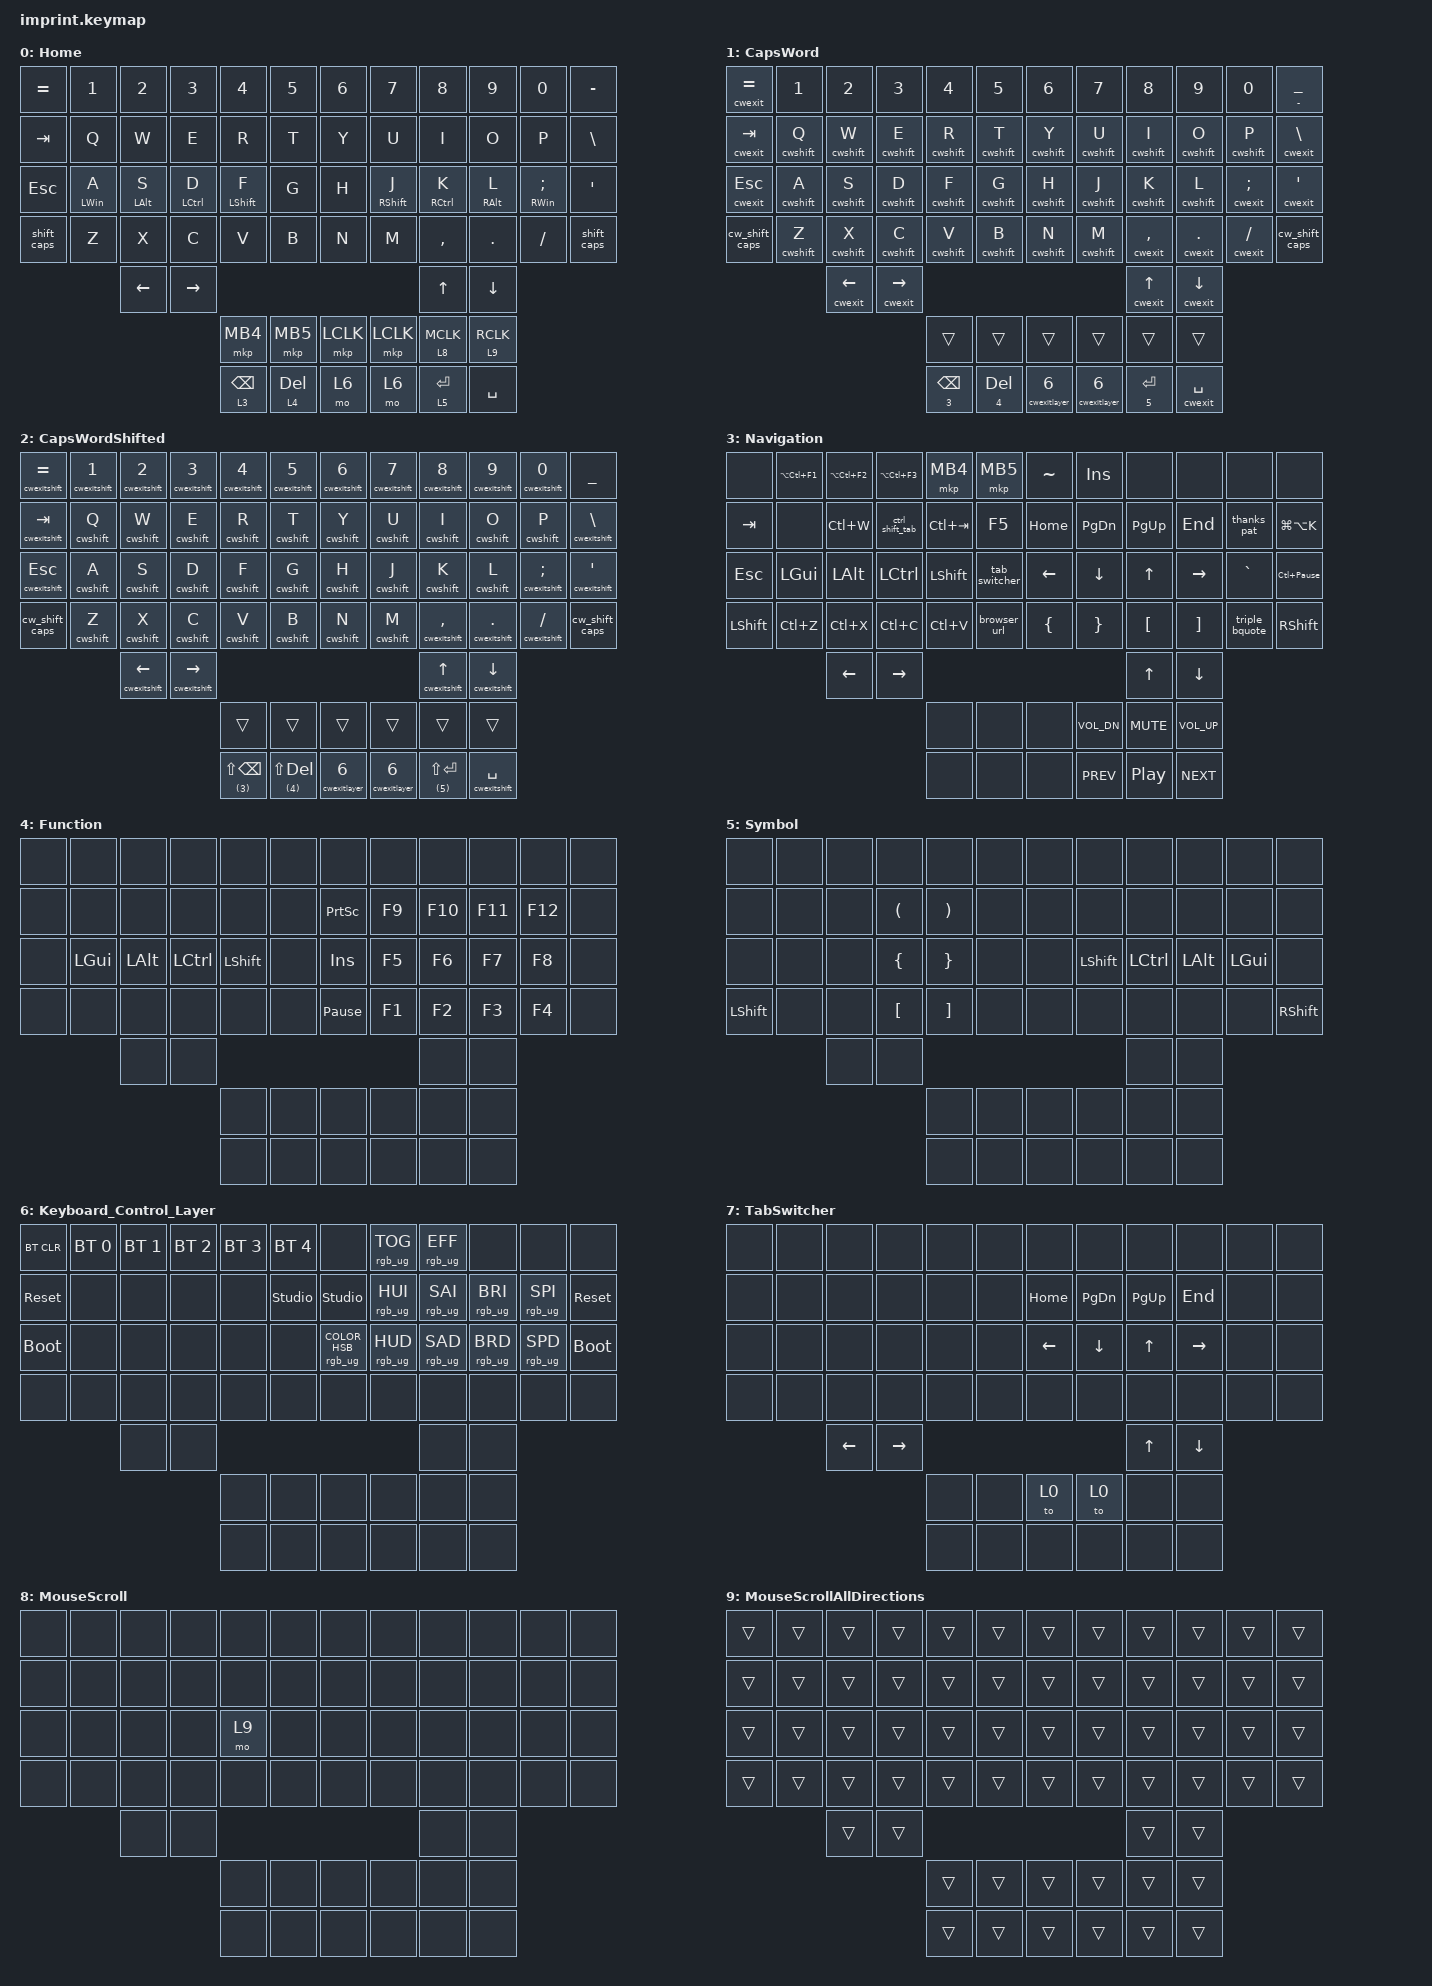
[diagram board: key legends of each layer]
#include <input/processors.dtsi>
#include <dt-bindings/zmk/input_transform.h>
#include <behaviors.dtsi>
#include <dt-bindings/zmk/bt.h>
#include <dt-bindings/zmk/keys.h>
#include <dt-bindings/zmk/pointing.h>
#include <dt-bindings/zmk/rgb.h>

/ {
    chosen { zmk,physical-layout = &physical_layout_imprint_number_row; };

    behaviors {
        hrm_left: hrm_left {
            compatible = "zmk,behavior-hold-tap";
            label = "HRM_LEFT";
            #binding-cells = <2>;
            tapping-term-ms = <500>;
            quick-tap-ms = <300>;
            require-prior-idle-ms = <250>;
            flavor = "balanced";
            hold-trigger-on-release;
            bindings = <&kp>, <&kp>;

            hold-trigger-key-positions = <6 7 8 9 10 11 18 19 20 21 22 23 30 31 32 33 34 35 42 43 44 45 46 47 50 51 55 56 57 61 62 63>;
        };

        hrm_left_index: hrm_left_index {
            compatible = "zmk,behavior-hold-tap";
            label = "HRM_LEFT_INDEX";
            #binding-cells = <2>;
            tapping-term-ms = <500>;
            quick-tap-ms = <300>;
            require-prior-idle-ms = <150>;
            flavor = "balanced";
            hold-trigger-on-release;
            bindings = <&kp>, <&kp>;

            hold-trigger-key-positions = <55 56 61 62 6 7 8 9 10 11 18 19 20 21 22 23 30 31 32 33 34 35 42 43 44 45 46 47 50 51 55 56 57 61 62 63>;
        };

        hrm_right: hrm_right {
            compatible = "zmk,behavior-hold-tap";
            label = "HRM_RIGHT";
            #binding-cells = <2>;
            tapping-term-ms = <500>;
            quick-tap-ms = <300>;
            require-prior-idle-ms = <250>;
            flavor = "balanced";
            hold-trigger-on-release;
            bindings = <&kp>, <&kp>;

            hold-trigger-key-positions = <0 1 2 3 4 5 12 13 14 15 16 17 24 25 26 27 28 29 36 37 38 39 40 41 48 49 52 53 54 58 59 60>;
        };

        hrm_right_index: hrm_right_index {
            compatible = "zmk,behavior-hold-tap";
            label = "HRM_RIGHT_INDEX";
            #binding-cells = <2>;
            tapping-term-ms = <500>;
            quick-tap-ms = <300>;
            require-prior-idle-ms = <150>;
            flavor = "balanced";
            hold-trigger-on-release;
            bindings = <&kp>, <&kp>;

            hold-trigger-key-positions = <0 1 2 3 4 5 12 13 14 15 16 17 24 25 26 27 28 29 36 37 38 39 40 41 48 49 52 53 54 58 59 60>;
        };

        thumb_layer: thumb_layer {
            compatible = "zmk,behavior-hold-tap";
            label = "THUMB_LAYER";
            #binding-cells = <2>;
            tapping-term-ms = <500>;
            quick-tap-ms = <300>;
            require-prior-idle-ms = <250>;
            flavor = "balanced";
            hold-trigger-on-release;
            bindings = <&mo>, <&kp>;
        };

        cwminus: cwminus {
            compatible = "zmk,behavior-hold-tap";
            label = "CWMINUS";
            bindings = <&cwexit>, <&kp>;

            #binding-cells = <2>;
            tapping-term-ms = <200>;
            flavor = "tap-preferred";
        };

        shift_caps: shift_caps {
            compatible = "zmk,behavior-tap-dance";
            label = "SHIFT_CAPS";
            #binding-cells = <0>;
            tapping-term-ms = <200>;
            bindings = <&kp LSHIFT>, <&to 1>;
        };

        layer_off: layer_off {
            compatible = "zmk,behavior-toggle-layer";
            label = "LAYER_OFF";
            #binding-cells = <1>;
            toggle-mode = "off";
        };

        layer_on: layer_on {
            compatible = "zmk,behavior-toggle-layer";
            label = "LAYER_ON";
            #binding-cells = <1>;
        };

        mouse_layer: mouse_layer {
            compatible = "zmk,behavior-hold-tap";
            label = "MOUSE_LAYER";
            #binding-cells = <2>;
            bindings = <&mo>, <&mkp>;

            tapping-term-ms = <200>;
            flavor = "balanced";
        };

        cw_shift_caps: cw_shift_caps {
            compatible = "zmk,behavior-tap-dance";
            label = "CW_SHIFT_CAPS";
            #binding-cells = <0>;
            tapping-term-ms = <200>;
            bindings = <&mo 2>, <&tog 1>;
        };

        cw_thumb_layer_bs: cw_thumb_layer_bs {
            compatible = "zmk,behavior-hold-tap";
            label = "CW_THUMB_LAYER_BS";
            #binding-cells = <2>;
            tapping-term-ms = <500>;
            quick-tap-ms = <300>;
            require-prior-idle-ms = <250>;
            flavor = "balanced";
            hold-trigger-on-release;
            bindings = <&cwexitlayer>, <&kp>;
        };

        cw_thumb_layer_exit: cw_thumb_layer_exit {
            compatible = "zmk,behavior-hold-tap";
            label = "CW_THUMB_LAYER_EXIT";
            #binding-cells = <2>;
            tapping-term-ms = <500>;
            quick-tap-ms = <300>;
            require-prior-idle-ms = <250>;
            flavor = "balanced";
            hold-trigger-on-release;
            bindings = <&cwexitlayer>, <&cwexit>;
        };
    };

    macros {
        thanks_pat: thanks_pat {
            compatible = "zmk,behavior-macro";
            #binding-cells = <0>;
            bindings =
                <&macro_tap_time 2>,
                <&kp LS(T) &kp H &kp A &kp N &kp K &kp S &kp COMMA &kp LS(RET) &kp LS(P) &kp A &kp T>;

            label = "THANKS_PAT";
        };

        triple_bquote: triple_bquote {
            compatible = "zmk,behavior-macro";
            #binding-cells = <0>;
            bindings = <&kp GRAVE &kp GRAVE &kp GRAVE>;
            label = "TRIPLE_BQUOTE";
        };

        browser_url: browser_url {
            compatible = "zmk,behavior-macro";
            #binding-cells = <0>;
            bindings = <&kp LC(L) &kp LC(C) &kp ESC &kp ESC>;
            label = "BROWSER_URL";
        };

        ctrl_shift_tab: ctrl_shift_tab {
            compatible = "zmk,behavior-macro";
            #binding-cells = <0>;
            bindings =
                <&macro_wait_time 2>,
                <&macro_press>,
                <&kp LCTRL &kp LSHFT>,
                <&macro_tap>,
                <&kp TAB>,
                <&macro_release>,
                <&kp LCTRL &kp LSHFT>;

            label = "CTRL_SHIFT_TAB";
        };

        tab_switcher: tab_switcher {
            compatible = "zmk,behavior-macro";
            #binding-cells = <0>;
            bindings =
                <&tog 7>,
                <&macro_press>,
                <&kp LALT>,
                <&macro_tap>,
                <&kp TAB>,
                <&macro_pause_for_release>,
                <&macro_release>,
                <&kp LALT>,
                <&macro_tap>,
                <&tog 7>;

            label = "TAB_SWITCHER";
        };

        cwshift: cwshift {
            compatible = "zmk,behavior-macro-one-param";
            #binding-cells = <1>;
            bindings =
                <&macro_press>,
                <&kp LSHFT>,
                <&macro_tap>,
                <&macro_param_1to1 &kp MACRO_PLACEHOLDER>,
                <&macro_release>,
                <&kp LSHFT>;

            label = "CWSHIFT";
        };

        cwexit: cwexit {
            compatible = "zmk,behavior-macro-one-param";
            #binding-cells = <1>;
            bindings = <&tog 1 &macro_param_1to1 &kp MACRO_PLACEHOLDER>;
            label = "CWEXIT";
        };

        cwexitshift: cwexitshift {
            compatible = "zmk,behavior-macro-one-param";
            #binding-cells = <1>;
            bindings =
                <&tog 1>,
                <&macro_press>,
                <&kp LSHFT>,
                <&macro_tap>,
                <&macro_param_1to1 &kp MACRO_PLACEHOLDER>,
                <&macro_release>,
                <&kp LSHFT>;

            label = "CWEXITSHIFT";
        };

        cwexitlayer: cwexitlayer {
            compatible = "zmk,behavior-macro-one-param";
            #binding-cells = <1>;
            bindings =
                <&macro_press>,
                <&macro_param_1to1 &mo MACRO_PLACEHOLDER>,
                <&macro_pause_for_release>,
                <&macro_param_1to1>,
                <&macro_release>,
                <&mo MACRO_PLACEHOLDER &mo 1>;

            label = "CWEXITLAYER";
        };
    };

    combos { compatible = "zmk,combos"; };

    keymap {
        compatible = "zmk,keymap";

        Home {
            display-name = "Home";
            bindings = <
&kp EQUAL    &kp N1            &kp N2            &kp N3             &kp N4                    &kp N5                           &kp N6     &kp N7                    &kp N8               &kp N9             &kp N0                &kp MINUS
&kp TAB      &kp Q             &kp W             &kp E              &kp R                     &kp T                            &kp Y      &kp U                     &kp I                &kp O              &kp P                 &kp BSLH
&kp ESC      &hrm_left LWIN A  &hrm_left LALT S  &hrm_left LCTRL D  &hrm_left_index LSHFT F   &kp G                            &kp H      &hrm_right_index RSHFT J  &hrm_right RCTRL K   &hrm_right RALT L  &hrm_right RWIN SEMI  &kp SQT
&shift_caps  &kp Z             &kp X             &kp C              &kp V                     &kp B                            &kp N      &kp M                     &kp COMMA            &kp DOT            &kp FSLH              &shift_caps
                               &kp LEFT          &kp RIGHT                                                                                                          &kp UP               &kp DOWN
                                                                    &mkp MB4                  &mkp MB5            &mkp LCLK    &mkp LCLK  &mouse_layer 8 MCLK       &mouse_layer 9 RCLK
                                                                    &thumb_layer 3 BACKSPACE  &thumb_layer 4 DEL  &mo 6        &mo 6      &thumb_layer 5 ENTER      &kp SPACE
            >;
        };

        CapsWord {
            display-name = "CapsWord";
            bindings = <
&cwexit EQUAL   &kp N1      &kp N2        &kp N3         &kp N4                          &kp N5                                           &kp N6          &kp N7                        &kp N8         &kp N9          &kp N0             &cwminus MINUS UNDER
&cwexit TAB     &cwshift Q  &cwshift W    &cwshift E     &cwshift R                      &cwshift T                                       &cwshift Y      &cwshift U                    &cwshift I     &cwshift O      &cwshift P         &cwexit BACKSLASH
&cwexit ESC     &cwshift A  &cwshift S    &cwshift D     &cwshift F                      &cwshift G                                       &cwshift H      &cwshift J                    &cwshift K     &cwshift L      &cwexit SEMICOLON  &cwexit SQT
&cw_shift_caps  &cwshift Z  &cwshift X    &cwshift C     &cwshift V                      &cwshift B                                       &cwshift N      &cwshift M                    &cwexit COMMA  &cwexit PERIOD  &cwexit SLASH      &cw_shift_caps
                            &cwexit LEFT  &cwexit RIGHT                                                                                                                                 &cwexit UP     &cwexit DOWN
                                                         &trans                          &trans                         &trans            &trans          &trans                        &trans
                                                         &cw_thumb_layer_bs 3 BACKSPACE  &cw_thumb_layer_exit 4 DELETE  &cwexitlayer 6    &cwexitlayer 6  &cw_thumb_layer_exit 5 ENTER  &cwexit SPACE
            >;
        };

        CapsWordShifted {
            display-name = "CapsWordShifted";
            bindings = <
&cwexitshift EQUAL  &cwexitshift N1  &cwexitshift N2    &cwexitshift N3     &cwexitshift N4                       &cwexitshift N5                                        &cwexitshift N6  &cwexitshift N7                     &cwexitshift N8     &cwexitshift N9      &cwexitshift N0         &kp UNDER
&cwexitshift TAB    &cwshift Q       &cwshift W         &cwshift E          &cwshift R                            &cwshift T                                             &cwshift Y       &cwshift U                          &cwshift I          &cwshift O           &cwshift P              &cwexitshift BACKSLASH
&cwexitshift ESC    &cwshift A       &cwshift S         &cwshift D          &cwshift F                            &cwshift G                                             &cwshift H       &cwshift J                          &cwshift K          &cwshift L           &cwexitshift SEMICOLON  &cwexitshift SQT
&cw_shift_caps      &cwshift Z       &cwshift X         &cwshift C          &cwshift V                            &cwshift B                                             &cwshift N       &cwshift M                          &cwexitshift COMMA  &cwexitshift PERIOD  &cwexitshift SLASH      &cw_shift_caps
                                     &cwexitshift LEFT  &cwexitshift RIGHT                                                                                                                                                    &cwexitshift UP     &cwexitshift DOWN
                                                                            &trans                                &trans                               &trans            &trans           &trans                              &trans
                                                                            &cw_thumb_layer_bs (3) LS(BACKSPACE)  &cw_thumb_layer_exit (4) LS(DELETE)  &cwexitlayer 6    &cwexitlayer 6   &cw_thumb_layer_exit (5) LS(ENTER)  &cwexitshift SPACE
            >;
        };

        Navigation {
            display-name = "Navigation";
            bindings = <
&none       &kp LA(LC(F1))  &kp LA(LC(F2))  &kp LA(LC(F3))   &mkp MB4     &mkp MB5                &kp TILDE       &kp INS           &none             &none              &none           &none
&kp TAB     &none           &kp LC(W)       &ctrl_shift_tab  &kp LC(TAB)  &kp F5                  &kp HOME        &kp PAGE_DOWN     &kp PG_UP         &kp END            &thanks_pat     &kp LG(LA(K))
&kp ESCAPE  &kp LGUI        &kp LALT        &kp LCTRL        &kp LSHFT    &tab_switcher           &kp LEFT        &kp DOWN          &kp UP            &kp RIGHT          &kp GRAVE       &kp LC(PAUSE_BREAK)
&kp LSHFT   &kp LC(Z)       &kp LC(X)       &kp LC(C)        &kp LC(V)    &browser_url            &kp LEFT_BRACE  &kp RIGHT_BRACE   &kp LEFT_BRACKET  &kp RIGHT_BRACKET  &triple_bquote  &kp RSHFT
                            &kp LEFT        &kp RIGHT                                                                               &kp UP            &kp DOWN
                                                             &none        &none          &none    &kp C_VOL_DN    &kp C_MUTE        &kp C_VOL_UP
                                                             &none        &none          &none    &kp C_PREV      &kp C_PLAY_PAUSE  &kp C_NEXT
            >;
        };

        Function {
            display-name = "Function";
            bindings = <
&none  &none     &none     &none      &none      &none           &none            &none   &none    &none    &none    &none
&none  &none     &none     &none      &none      &none           &kp PRINTSCREEN  &kp F9  &kp F10  &kp F11  &kp F12  &none
&none  &kp LGUI  &kp LALT  &kp LCTRL  &kp LSHFT  &none           &kp INS          &kp F5  &kp F6   &kp F7   &kp F8   &none
&none  &none     &none     &none      &none      &none           &kp PAUSE_BREAK  &kp F1  &kp F2   &kp F3   &kp F4   &none
                 &none     &none                                                          &none    &none
                                      &none      &none  &none    &none            &none   &none
                                      &none      &none  &none    &none            &none   &none
            >;
        };

        Symbol {
            display-name = "Symbol";
            bindings = <
&none      &none  &none  &none           &none            &none           &none  &none      &none      &none     &none     &none
&none      &none  &none  &kp LPAR        &kp RPAR         &none           &none  &none      &none      &none     &none     &none
&none      &none  &none  &kp LEFT_BRACE  &kp RIGHT_BRACE  &none           &none  &kp LSHFT  &kp LCTRL  &kp LALT  &kp LGUI  &none
&kp LSHFT  &none  &none  &kp LBKT        &kp RBKT         &none           &none  &none      &none      &none     &none     &kp RSHFT
                  &none  &none                                                              &none      &none
                                         &none            &none  &none    &none  &none      &none
                                         &none            &none  &none    &none  &none      &none
            >;
        };

        Keyboard_Control_Layer {
            display-name = "Keyboard_Control_Layer";
            bindings = <
&bt BT_CLR   &bt BT_SEL 0  &bt BT_SEL 1  &bt BT_SEL 2  &bt BT_SEL 3  &bt BT_SEL 4             &none                             &rgb_ug RGB_TOG  &rgb_ug RGB_EFF  &none            &none            &none
&sys_reset   &none         &none         &none         &none         &studio_unlock           &studio_unlock                    &rgb_ug RGB_HUI  &rgb_ug RGB_SAI  &rgb_ug RGB_BRI  &rgb_ug RGB_SPI  &sys_reset
&bootloader  &none         &none         &none         &none         &none                    &rgb_ug RGB_COLOR_HSB(109,0,100)  &rgb_ug RGB_HUD  &rgb_ug RGB_SAD  &rgb_ug RGB_BRD  &rgb_ug RGB_SPD  &bootloader
&none        &none         &none         &none         &none         &none                    &none                             &none            &none            &none            &none            &none
                           &none         &none                                                                                                   &none            &none
                                                       &none         &none           &none    &none                             &none            &none
                                                       &none         &none           &none    &none                             &none            &none
            >;
        };

        TabSwitcher {
            display-name = "TabSwitcher";
            bindings = <
&none  &none  &none     &none      &none  &none           &none     &none          &none      &none      &none  &none
&none  &none  &none     &none      &none  &none           &kp HOME  &kp PAGE_DOWN  &kp PG_UP  &kp END    &none  &none
&none  &none  &none     &none      &none  &none           &kp LEFT  &kp DOWN       &kp UP     &kp RIGHT  &none  &none
&none  &none  &none     &none      &none  &none           &none     &none          &none      &none      &none  &none
              &kp LEFT  &kp RIGHT                                                  &kp UP     &kp DOWN
                                   &none  &none  &to 0    &to 0     &none          &none
                                   &none  &none  &none    &none     &none          &none
            >;
        };

        MouseScroll {
            display-name = "MouseScroll";
            bindings = <
&none  &none  &none  &none  &none  &none           &none  &none  &none  &none  &none  &none
&none  &none  &none  &none  &none  &none           &none  &none  &none  &none  &none  &none
&none  &none  &none  &none  &mo 9  &none           &none  &none  &none  &none  &none  &none
&none  &none  &none  &none  &none  &none           &none  &none  &none  &none  &none  &none
              &none  &none                                       &none  &none
                            &none  &none  &none    &none  &none  &none
                            &none  &none  &none    &none  &none  &none
            >;
        };

        MouseScrollAllDirections {
            display-name = "MouseScrollAllDirections";
            bindings = <
&trans  &trans  &trans  &trans  &trans  &trans            &trans  &trans  &trans  &trans  &trans  &trans
&trans  &trans  &trans  &trans  &trans  &trans            &trans  &trans  &trans  &trans  &trans  &trans
&trans  &trans  &trans  &trans  &trans  &trans            &trans  &trans  &trans  &trans  &trans  &trans
&trans  &trans  &trans  &trans  &trans  &trans            &trans  &trans  &trans  &trans  &trans  &trans
                &trans  &trans                                            &trans  &trans
                                &trans  &trans  &trans    &trans  &trans  &trans
                                &trans  &trans  &trans    &trans  &trans  &trans
            >;
        };
    };
};

// Configure the left trackball as a scroll wheel.

&trackball_central_listener {
    input-processors =
        <&zip_xy_scaler 1 18>,
        <&zip_xy_to_scroll_mapper>,
        <&zip_scroll_transform INPUT_TRANSFORM_Y_INVERT>;
};

// Configure the right trackball to operate as a mouse pointer.

&trackball_peripheral_listener {
    input-processors = <&zip_xy_scaler 1 1>;

    MouseScrollerAllDirections {
        layers = <9>;
        input-processors =
            <&zip_x_scaler 1 18>,
            <&zip_y_scaler 1 18>,
            <&zip_xy_to_scroll_mapper>,
            <&zip_scroll_transform INPUT_TRANSFORM_Y_INVERT>;
    };

    MouseScroller {
        layers = <8>;
        input-processors =
            <&zip_x_scaler 0 1>,
            <&zip_y_scaler 1 18>,
            <&zip_xy_to_scroll_mapper>,
            <&zip_scroll_transform INPUT_TRANSFORM_Y_INVERT>;
    };
};
